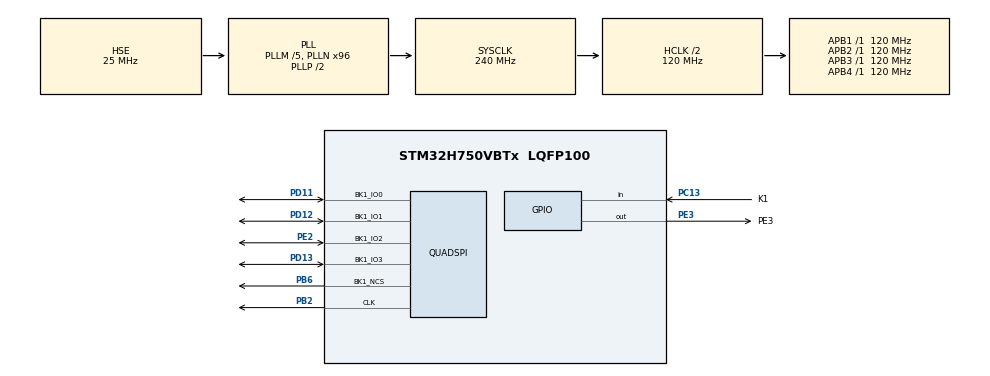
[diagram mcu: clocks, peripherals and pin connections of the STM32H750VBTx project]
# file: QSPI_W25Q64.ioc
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CORTEX_M7.CPU_DCache=Enabled
CORTEX_M7.CPU_ICache=Enabled
Mcu.Family=STM32H7
Mcu.Name=STM32H750VBTx
Mcu.Package=LQFP100
NVIC.PriorityGroup=NVIC_PRIORITYGROUP_4
PA13\ (JTMS/SWDIO).Mode=Serial_Wire
PA13\ (JTMS/SWDIO).Signal=DEBUG_JTMS-SWDIO
PA14\ (JTCK/SWCLK).Mode=Serial_Wire
PA14\ (JTCK/SWCLK).Signal=DEBUG_JTCK-SWCLK
PB2.GPIO_Speed=GPIO_SPEED_FREQ_VERY_HIGH
PB2.Mode=Single Bank 1
PB2.Signal=QUADSPI_CLK
PB6.GPIO_Speed=GPIO_SPEED_FREQ_VERY_HIGH
PB6.Mode=Single Bank 1
PB6.Signal=QUADSPI_BK1_NCS
PC13.GPIO_Label=K1
PC13.GPIO_PuPd=GPIO_PULLDOWN
PC13.Signal=GPIO_Input
PC14-OSC32_IN\ (OSC32_IN).Mode=LSE-External-Oscillator
PC14-OSC32_IN\ (OSC32_IN).Signal=RCC_OSC32_IN
PC15-OSC32_OUT\ (OSC32_OUT).Mode=LSE-External-Oscillator
PC15-OSC32_OUT\ (OSC32_OUT).Signal=RCC_OSC32_OUT
PD11.GPIO_Speed=GPIO_SPEED_FREQ_VERY_HIGH
PD11.Mode=Single Bank 1
PD11.Signal=QUADSPI_BK1_IO0
PD12.GPIO_Speed=GPIO_SPEED_FREQ_VERY_HIGH
PD12.Mode=Single Bank 1
PD12.Signal=QUADSPI_BK1_IO1
PD13.GPIO_Speed=GPIO_SPEED_FREQ_VERY_HIGH
PD13.Mode=Single Bank 1
PD13.Signal=QUADSPI_BK1_IO3
PE2.GPIO_Speed=GPIO_SPEED_FREQ_VERY_HIGH
PE2.Mode=Single Bank 1
PE2.Signal=QUADSPI_BK1_IO2
PE3.GPIO_Label=PE3
PE3.GPIO_PuPd=GPIO_PULLDOWN
PE3.Signal=GPIO_Output
PH0-OSC_IN\ (PH0).Mode=HSE-External-Oscillator
PH0-OSC_IN\ (PH0).Signal=RCC_OSC_IN
PH1-OSC_OUT\ (PH1).Mode=HSE-External-Oscillator
PH1-OSC_OUT\ (PH1).Signal=RCC_OSC_OUT
ProjectManager.HeapSize=0x200
ProjectManager.StackSize=0x400
ProjectManager.TargetToolchain=STM32CubeIDE
QUADSPI.ChipSelectHighTime=QSPI_CS_HIGH_TIME_5_CYCLE
QUADSPI.ClockPrescaler=1
QUADSPI.FifoThreshold=4
QUADSPI.FlashSize=22
QUADSPI.SampleShifting=QSPI_SAMPLE_SHIFTING_HALFCYCLE
RCC.ADCFreq_Value=50390625
RCC.APB1Freq_Value=120000000
RCC.APB2Freq_Value=120000000
RCC.APB3Freq_Value=120000000
RCC.APB4Freq_Value=120000000
RCC.CortexFreq_Value=240000000
RCC.DIVM1=5
RCC.DIVN1=96
RCC.DIVQ1=1
RCC.HCLKFreq_Value=120000000
RCC.HPRE=RCC_HCLK_DIV2
RCC.PLLSourceVirtual=RCC_PLLSOURCE_HSE
RCC.SYSCLKFreq_VALUE=240000000
RCC.SYSCLKSource=RCC_SYSCLKSOURCE_PLLCLK
RCC.USBFreq_Value=480000000
VP_RTC_VS_RTC_Activate.Mode=RTC_Enabled
board=custom

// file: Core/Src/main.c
/* USER CODE BEGIN Header */
/**
  ******************************************************************************
  * @file           : main.c
  * @brief          : Main program body
  ******************************************************************************
  * @attention
  *
  * Copyright (c) 2022 STMicroelectronics.
  * All rights reserved.
  *
  * This software is licensed under terms that can be found in the LICENSE file
  * in the root directory of this software component.
  * If no LICENSE file comes with this software, it is provided AS-IS.
  *
  ******************************************************************************
  */
/* USER CODE END Header */
#include "main.h"
#include "quadspi.h"
#include "rtc.h"
#include "gpio.h"

/* USER CODE BEGIN Includes */
// workspace_1.10.0
#include "w25qxx_qspi.h"
#include "stdio.h"
/* USER CODE END Includes */

/* USER CODE BEGIN PD */
	char str[50] = {0};
		uint16_t t;
	const uint8_t TEXT_Buffer[]={"STM32H743VIT6 QSPI TEST..."};
	const uint8_t TEXT_Buffer2[]={"VARSA SEKLINIZ CIKISA BEKLERIZ :D ."};
	#define SIZE sizeof(TEXT_Buffer)
	#define SIZE2 sizeof(TEXT_Buffer2)
	uint32_t idd=0;
/* USER CODE END PD */

void SystemClock_Config(void);

/* USER CODE BEGIN 0 */
uint32_t i=0;
/* USER CODE END 0 */

int main(void)
{
  /* USER CODE BEGIN 1 */
	uint8_t datatemp[SIZE+SIZE2+1];
  /* USER CODE END 1 */

  /* Enable I-Cache---------------------------------------------------------*/
  SCB_EnableICache();

  /* Enable D-Cache---------------------------------------------------------*/
  SCB_EnableDCache();

  /* MCU Configuration--------------------------------------------------------*/

  /* Reset of all peripherals, Initializes the Flash interface and the Systick. */
  HAL_Init();

  /* Configure the system clock */
  SystemClock_Config();

  /* Initialize all configured peripherals */
  MX_GPIO_Init();
  MX_QUADSPI_Init();
  MX_RTC_Init();   // Можно без этого!!!!!!!!!
  /* USER CODE BEGIN 2 */

  w25qxx_Init();
  w25qxx_GetID();
  W25qxx_EraseChip(); // approx 13 second to execute
  W25qxx_Write((uint8_t*)TEXT_Buffer, 0, SIZE);
  W25qxx_Write((uint8_t*)TEXT_Buffer2, SIZE, SIZE2);
  W25qxx_Read(datatemp, 0, SIZE+SIZE2);

/*
for ( i=0;i<8192;i++)
{
	W25qxx_Write((uint8_t*)"\0", i, 1);   //full chip write

}
*/
  /* USER CODE END 2 */

  /* Infinite loop */
  while (1)
  {

    /* USER CODE BEGIN 3 */
	  HAL_GPIO_TogglePin(GPIOE, GPIO_PIN_3);
	  HAL_Delay(250);
  }
  /* USER CODE END 3 */
}

void SystemClock_Config(void)
{
  RCC_OscInitTypeDef RCC_OscInitStruct = {0};
  RCC_ClkInitTypeDef RCC_ClkInitStruct = {0};

  /** Supply configuration update enable
  */
  HAL_PWREx_ConfigSupply(PWR_LDO_SUPPLY);

  /** Configure the main internal regulator output voltage
  */
  __HAL_PWR_VOLTAGESCALING_CONFIG(PWR_REGULATOR_VOLTAGE_SCALE2);

  while(!__HAL_PWR_GET_FLAG(PWR_FLAG_VOSRDY)) {}

  /** Initializes the RCC Oscillators according to the specified parameters
  * in the RCC_OscInitTypeDef structure.
  */
  RCC_OscInitStruct.OscillatorType = RCC_OSCILLATORTYPE_LSI|RCC_OSCILLATORTYPE_HSE;
  RCC_OscInitStruct.HSEState = RCC_HSE_ON;
  RCC_OscInitStruct.LSIState = RCC_LSI_ON;
  RCC_OscInitStruct.PLL.PLLState = RCC_PLL_ON;
  RCC_OscInitStruct.PLL.PLLSource = RCC_PLLSOURCE_HSE;
  RCC_OscInitStruct.PLL.PLLM = 5;
  RCC_OscInitStruct.PLL.PLLN = 96;
  RCC_OscInitStruct.PLL.PLLP = 2;
  RCC_OscInitStruct.PLL.PLLQ = 1;
  RCC_OscInitStruct.PLL.PLLR = 2;
  RCC_OscInitStruct.PLL.PLLRGE = RCC_PLL1VCIRANGE_2;
  RCC_OscInitStruct.PLL.PLLVCOSEL = RCC_PLL1VCOWIDE;
  RCC_OscInitStruct.PLL.PLLFRACN = 0;
  if (HAL_RCC_OscConfig(&RCC_OscInitStruct) != HAL_OK)
  {
    Error_Handler();
  }

  /** Initializes the CPU, AHB and APB buses clocks
  */
  RCC_ClkInitStruct.ClockType = RCC_CLOCKTYPE_HCLK|RCC_CLOCKTYPE_SYSCLK
                              |RCC_CLOCKTYPE_PCLK1|RCC_CLOCKTYPE_PCLK2
                              |RCC_CLOCKTYPE_D3PCLK1|RCC_CLOCKTYPE_D1PCLK1;
  RCC_ClkInitStruct.SYSCLKSource = RCC_SYSCLKSOURCE_PLLCLK;
  RCC_ClkInitStruct.SYSCLKDivider = RCC_SYSCLK_DIV1;
  RCC_ClkInitStruct.AHBCLKDivider = RCC_HCLK_DIV2;
  RCC_ClkInitStruct.APB3CLKDivider = RCC_APB3_DIV1;
  RCC_ClkInitStruct.APB1CLKDivider = RCC_APB1_DIV1;
  RCC_ClkInitStruct.APB2CLKDivider = RCC_APB2_DIV1;
  RCC_ClkInitStruct.APB4CLKDivider = RCC_APB4_DIV1;

  if (HAL_RCC_ClockConfig(&RCC_ClkInitStruct, FLASH_LATENCY_2) != HAL_OK)
  {
    Error_Handler();
  }
}

void Error_Handler(void)
{
  __disable_irq();
  while (1)
  {
  }
}
